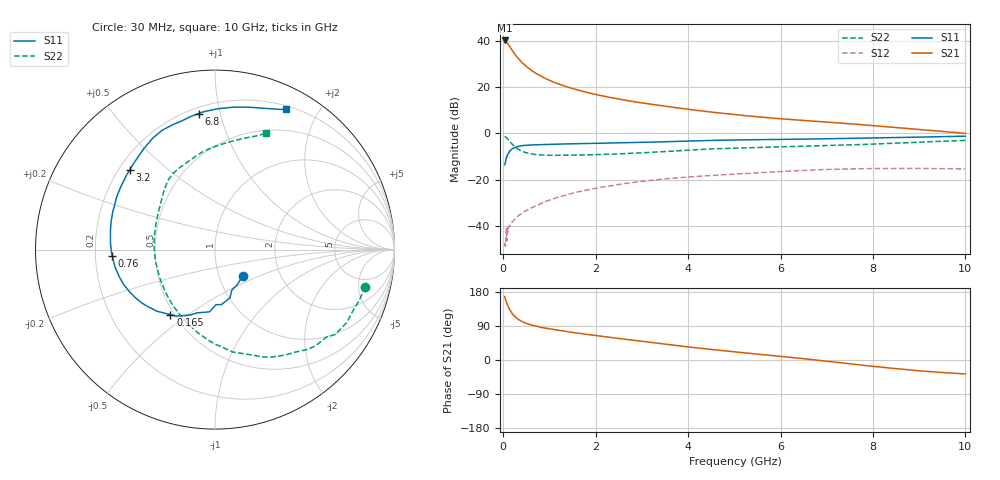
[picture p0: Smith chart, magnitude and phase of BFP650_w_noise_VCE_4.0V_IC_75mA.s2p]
! Infineon Technologies  Discrete & RF Semiconductors
! BFP650
! VCE =  4.0 V,  IC =  75 mA
! Common Emitter S-Parameters:  Jan 2016
# GHz  S  MA  R  50
!  f  S11  S21  S12  S22
! GHz  MAG  ANG  MAG  ANG  MAG  ANG  MAG  ANG
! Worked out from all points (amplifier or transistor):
!   229 points, 30 MHz to 10 GHz, reference 50 ohm
!   highest |S21| = 40.1 dB at 30 MHz (marker M1)
!   |S21| within 3 dB of that: start of sweep to 151.2 MHz
!   unconditionally stable (mu >= 1): 1.452 GHz to end of sweep
!   at 280 MHz: K = 0.59, MSG = 35.0 dB, |S12| = -36.4 dB
!   at 1.78 GHz: K = 1.02, MAG = 20.4 dB, |S12| = -24.6 dB
!   at 10 GHz: K = 1.03, MAG = 6.7 dB, |S12| = -15.3 dB
!   lowest NFmin = 1.21 dB at 450 MHz
!   S11 on the Smith chart (normalised r, x): 30 MHz: 1.30, -0.39; 165 MHz: 0.48, -0.43; 760 MHz: 0.27, -0.03; 3.2 GHz: 0.24, +0.38; 6.8 GHz: 0.24, +0.86; 10 GHz: 0.24, +1.60
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0.03  0.212 -43.0  101.7 167.4  0.0044 74.2  0.8634 -13.9
0.04  0.2311 -57.2  100.8 163.3  0.0038 58.5  0.8515 -19.6
0.05  0.2445 -67.6  98.07 159.4  0.0037 56.3  0.8398 -24.6
0.065  0.2935 -78.2  95.55 154.4  0.0077 83.4  0.8286 -32.0
0.08  0.3073 -89.1  91.67 149.2  0.0048 52.4  0.7899 -38.1
0.1  0.3559 -100.4  86.22 143.0  0.0074 62.1  0.7571 -47.4
0.13  0.4007 -113.8  77.47 135.1  0.0103 58.7  0.6913 -59.2
0.165  0.4392 -124.4  68.69 128.2  0.0112 55.6  0.6295 -69.6
0.2  0.4723 -133.4  60.85 121.4  0.0126 56.2  0.5787 -80.2
0.26  0.5042 -143.8  50.3 113.6  0.0144 54.7  0.5084 -93.8
0.3  0.5188 -149.0  44.61 109.4  0.0158 55.3  0.4734 -101.6
0.36  0.5347 -155.3  38.05 104.7  0.0178 57.7  0.4355 -111.3
0.5  0.5561 -165.3  27.96 96.6  0.0217 57.6  0.3841 -129.3
0.76  0.5737 -176.5  18.54 87.9  0.029 59.7  0.3475 -150.8
1.1  0.5861 173.8  12.73 80.3  0.0392 59.7  0.3379 -168.6
1.7  0.6044 161.2  8.217 69.5  0.0573 55.4  0.343 171.9
3.2  0.6504 136.8  4.279 46.5  0.0974 40.5  0.3914 141.5
3.4  0.6583 133.9  4 43.4  0.1024 38.3  0.4018 138.5
5.1  0.7279 112.9  2.502 20.4  0.1345 20.5  0.4865 117.8
6.8  0.7632 96.9  1.826 -0.4  0.1643 3.3  0.5409 99.2
8.4  0.8128 77.5  1.369 -21.7  0.176 -14.5  0.6114 81.0
10  0.8753 63.1  1.006 -36.7  0.1716 -27.2  0.7087 66.3
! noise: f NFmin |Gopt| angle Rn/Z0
0.45  1.21  0.5  -171  0.06
0.9  1.23  0.51  -165  0.06
1.9  1.36  0.53  -151  0.08
2.4  1.44  0.52  -141  0.1
3.5  1.65  0.54  -118  0.18
